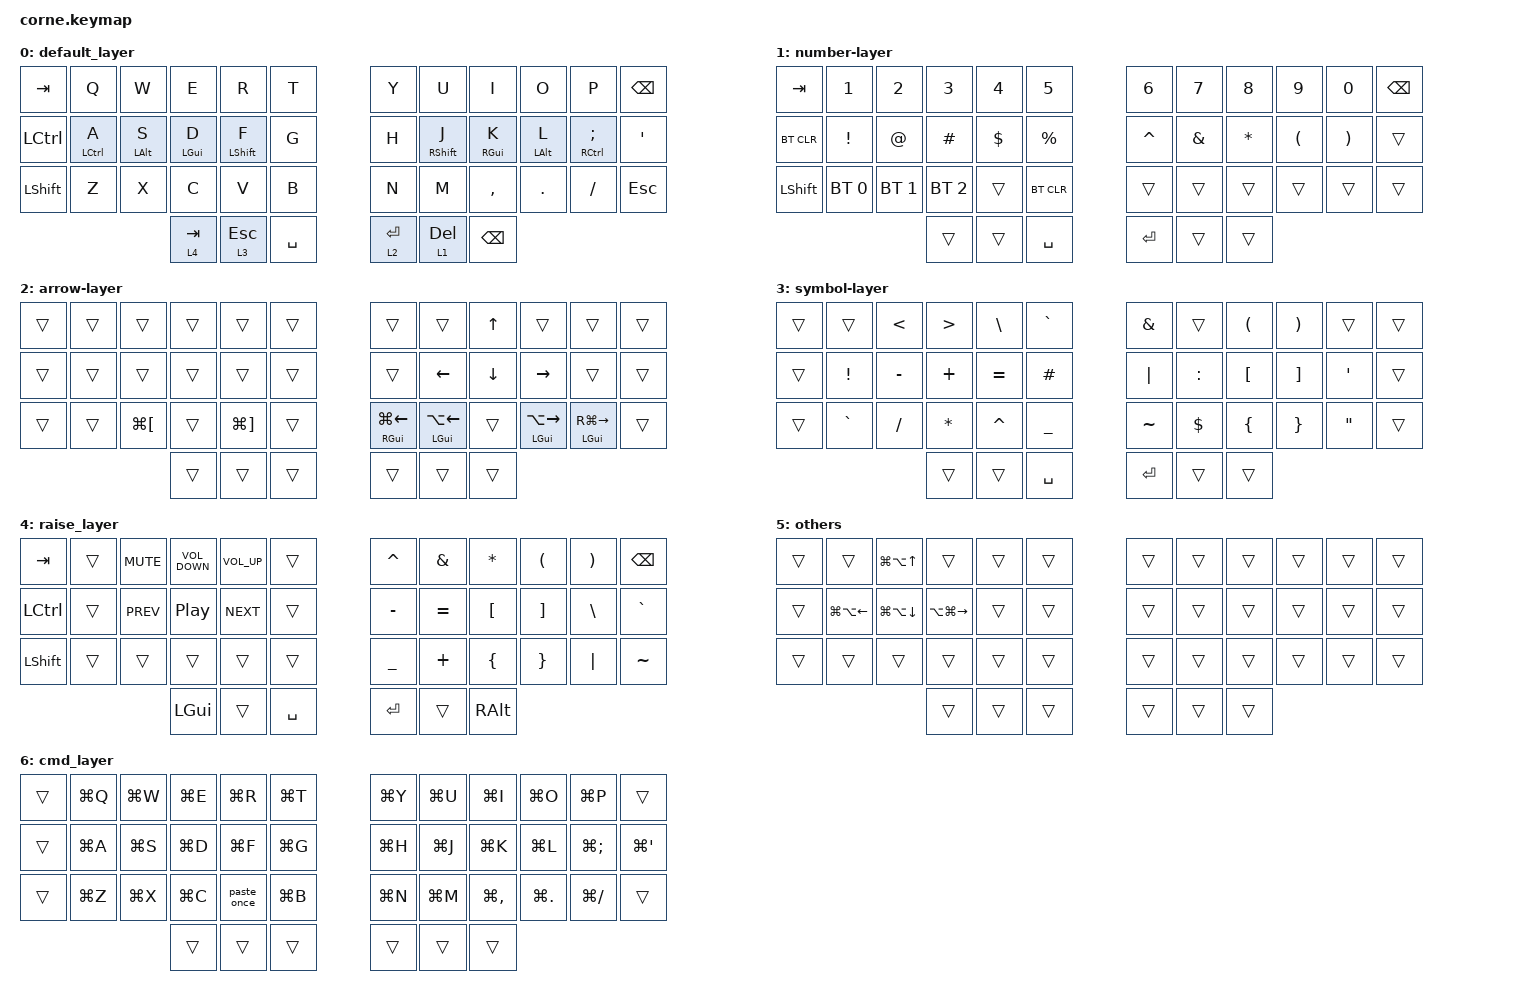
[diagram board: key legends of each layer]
/*
 * Copyright (c) 2020 The ZMK Contributors
 *
 * SPDX-License-Identifier: MIT
 */

#include <behaviors.dtsi>
#include <dt-bindings/zmk/bt.h>
#include <dt-bindings/zmk/keys.h>

// Personal include

&mt {
    require-prior-idle-ms = <50>;
    quick-tap-ms = <0>;
    tapping-term-ms = <50>;
    flavor = "hold-preferred";
    hold-while-undecided;
};

/ {
    macros {
        paste_once: paste_once {
            compatible = "zmk,behavior-macro";
            #binding-cells = <0>;
            wait-ms = <30>;
            tap-ms = <30>;
            bindings = <&kp LG(V)>;
        };
    };
};

/ {
    behaviors {
        lhm: left_homerow_mods {
            compatible = "zmk,behavior-hold-tap";
            #binding-cells = <2>;
            tapping-term-ms = <180>;
            quick-tap-ms = <120>;
            require-prior-idle-ms = <150>;
            flavor = "balanced";
            hold-trigger-on-release;
            hold-trigger-key-positions = <6 7 8 9 10 11 18 19 20 21 22 23 30 31 32 33 34 35>;
            bindings = <&kp>, <&kp>;
        };

        rhm: right_homerow_mods {
            compatible = "zmk,behavior-hold-tap";
            #binding-cells = <2>;
            tapping-term-ms = <180>;
            quick-tap-ms = <120>;
            require-prior-idle-ms = <150>;
            flavor = "balanced";
            hold-trigger-on-release;
            hold-trigger-key-positions = <0 1 2 3 4 5 12 13 14 15 16 17 24 25 26 27 28 29>;
            bindings = <&kp>, <&kp>;
        };

        cmd_space: cmd_space {
            compatible = "zmk,behavior-hold-tap";
            #binding-cells = <2>;
            tapping-term-ms = <280>;
            quick-tap-ms = <175>;
            require-prior-idle-ms = <50>;
            flavor = "balanced";
            bindings = <&kp>, <&kp>;
        };
    };
};

&lt {
    tapping-term-ms = <130>;
    quick-tap-ms = <30>;
    require-prior-idle-ms = <80>;
    hold-trigger-on-release;
    hold-trigger-key-positions = <39 40 37 36>;
};

/ {
    keymap {
        compatible = "zmk,keymap";

        default_layer {
            // -----------------------------------------------------------------------------------------
            // |  TAB |  Q  |  W  |  E  |  R  |  T  |   |  Y  |  U   |  I  |  O  |  P  | BSPC |
            // | CTRL |  A  |  S  |  D  |  F  |  G  |   |  H  |  J   |  K  |  L  |  ;  |  '   |
            // | SHFT |  Z  |  X  |  C  |  V  |  B  |   |  N  |  M   |  ,  |  .  |  /  | ESC  |
            //                    | GUI | LWR | SPC |   | ENT | RSE  | ALT |

            bindings = <
&kp TAB    &kp Q         &kp W            &kp E            &kp R              &kp T        &kp Y        &kp U         &kp I             &kp O            &kp P                 &kp BSPC
&kp LCTRL  &lhm LCTRL A  &lhm LEFT_ALT S  &lhm LEFT_GUI D  &lhm LEFT_SHIFT F  &kp G        &kp H        &rhm RSHFT J  &rhm RIGHT_GUI K  &rhm LEFT_ALT L  &rhm RCTRL SEMICOLON  &kp SQT
&kp LSHFT  &kp Z         &kp X            &kp C            &kp V              &kp B        &kp N        &kp M         &kp COMMA         &kp DOT          &kp FSLH              &kp ESC
                                          &lt 4 TAB        &lt 3 ESCAPE       &kp SPACE    &lt 2 ENTER  &lt 1 DELETE  &kp BACKSPACE
            >;
        };

        number-layer {
            // -----------------------------------------------------------------------------------------
            // |  TAB |  1  |  2  |  3  |  4  |  5  |   |  6  |  7  |  8  |  9  |  0  | BSPC |
            // | BTCLR| BT1 | BT2 | BT3 | BT4 | BT5 |   | LFT | DWN |  UP | RGT |     |      |
            // | SHFT |     |     |     |     |     |   |     |     |     |     |     |      |
            //                    | GUI |     | SPC |   | ENT |     | ALT |

            bindings = <
&kp TAB     &kp N1           &kp N2        &kp N3        &kp N4      &kp N5         &kp N6     &kp N7         &kp N8        &kp N9                &kp N0                 &kp BSPC
&bt BT_CLR  &kp EXCLAMATION  &kp AT_SIGN   &kp HASH      &kp DOLLAR  &kp PERCENT    &kp CARET  &kp AMPERSAND  &kp ASTERISK  &kp LEFT_PARENTHESIS  &kp RIGHT_PARENTHESIS  &trans
&kp LSHFT   &bt BT_SEL 0     &bt BT_SEL 1  &bt BT_SEL 2  &trans      &bt BT_CLR     &trans     &trans         &trans        &trans                &trans                 &trans
                                           &trans        &trans      &kp SPACE      &kp ENTER  &trans         &trans
            >;
        };

        arrow-layer {
            bindings = <
&trans  &trans  &trans        &trans  &trans        &trans    &trans                   &trans                        &kp UP_ARROW  &trans                   &trans                   &trans
&trans  &trans  &trans        &trans  &trans        &trans    &trans                   &kp LEFT                      &kp DOWN      &kp RIGHT                &trans                   &trans
&trans  &trans  &kp LG(LBKT)  &trans  &kp LG(RBKT)  &trans    &rhm RIGHT_GUI LG(LEFT)  &rhm LEFT_GUI LA(LEFT_ARROW)  &trans        &rhm LEFT_GUI LA(RIGHT)  &rhm LEFT_GUI RG(RIGHT)  &trans
                              &trans  &trans        &trans    &trans                   &trans                        &trans
            >;
        };

        symbol-layer {
            bindings = <
&trans  &trans           &kp LESS_THAN  &kp GREATER_THAN  &kp BACKSLASH  &kp GRAVE         &kp AMPERSAND  &trans      &kp LEFT_PARENTHESIS  &kp RIGHT_PARENTHESIS  &trans             &trans
&trans  &kp EXCLAMATION  &kp MINUS      &kp PLUS          &kp EQUAL      &kp HASH          &kp PIPE       &kp COLON   &kp LEFT_BRACKET      &kp RIGHT_BRACKET      &kp SINGLE_QUOTE   &trans
&trans  &kp GRAVE        &kp SLASH      &kp ASTERISK      &kp CARET      &kp UNDERSCORE    &kp TILDE      &kp DOLLAR  &kp LEFT_BRACE        &kp RIGHT_BRACE        &kp DOUBLE_QUOTES  &trans
                                        &trans            &trans         &kp SPACE         &kp ENTER      &trans      &trans
            >;
        };

        raise_layer {
            // -----------------------------------------------------------------------------------------
            // |  TAB |  !  |  @  |  #  |  $  |  %  |   |  ^  |  &  |  *  |  (  |  )  | BSPC |
            // | CTRL |     |     |     |     |     |   |  -  |  =  |  [  |  ]  |  \  |  `   |
            // | SHFT |     |     |     |     |     |   |  _  |  +  |  {  |  }  | "|" |  ~   |
            //                    | GUI |     | SPC |   | ENT |     | ALT |

            bindings = <
&kp TAB    &trans  &kp C_MUTE  &kp C_VOLUME_DOWN  &kp C_VOLUME_UP  &trans       &kp CARET  &kp AMPS   &kp ASTRK  &kp LPAR  &kp RPAR  &kp BSPC
&kp LCTRL  &trans  &kp C_PREV  &kp C_PP           &kp C_NEXT       &trans       &kp MINUS  &kp EQUAL  &kp LBKT   &kp RBKT  &kp BSLH  &kp GRAVE
&kp LSHFT  &trans  &trans      &trans             &trans           &trans       &kp UNDER  &kp PLUS   &kp LBRC   &kp RBRC  &kp PIPE  &kp TILDE
                               &kp LGUI           &trans           &kp SPACE    &kp RET    &trans     &kp RALT
            >;
        };

        others {
            bindings = <
&trans  &trans            &kp LG(LA(UP_ARROW))  &trans             &trans  &trans    &trans  &trans  &trans  &trans  &trans  &trans
&trans  &kp LG(LA(LEFT))  &kp LG(LA(DOWN))      &kp LA(LG(RIGHT))  &trans  &trans    &trans  &trans  &trans  &trans  &trans  &trans
&trans  &trans            &trans                &trans             &trans  &trans    &trans  &trans  &trans  &trans  &trans  &trans
                                                &trans             &trans  &trans    &trans  &trans  &trans
            >;
        };

        cmd_layer {
            bindings = <
&trans  &kp LG(Q)  &kp LG(W)  &kp LG(E)  &kp LG(R)    &kp LG(T)    &kp LG(Y)  &kp LG(U)  &kp LG(I)      &kp LG(O)    &kp LG(P)          &trans
&trans  &kp LG(A)  &kp LG(S)  &kp LG(D)  &kp LG(F)    &kp LG(G)    &kp LG(H)  &kp LG(J)  &kp LG(K)      &kp LG(L)    &kp LG(SEMICOLON)  &kp LG(SQT)
&trans  &kp LG(Z)  &kp LG(X)  &kp LG(C)  &paste_once  &kp LG(B)    &kp LG(N)  &kp LG(M)  &kp LG(COMMA)  &kp LG(DOT)  &kp LG(FSLH)       &trans
                              &trans     &trans       &trans       &trans     &trans     &trans
            >;
        };
    };
};
